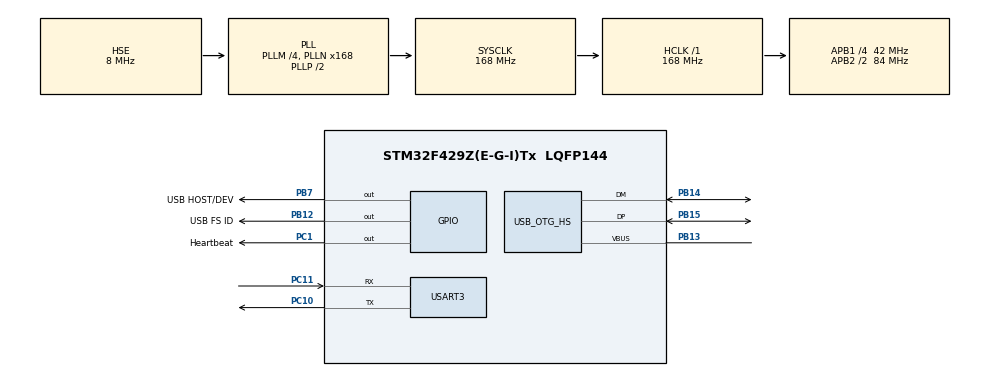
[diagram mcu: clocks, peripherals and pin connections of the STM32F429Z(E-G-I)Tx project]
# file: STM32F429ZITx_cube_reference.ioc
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Mcu.Family=STM32F4
Mcu.Name=STM32F429Z(E-G-I)Tx
Mcu.Package=LQFP144
NVIC.OTG_HS_EP1_IN_IRQn=true\:0\:0\:false\:false\:true
NVIC.OTG_HS_EP1_OUT_IRQn=true\:0\:0\:false\:false\:true
NVIC.OTG_HS_IRQn=true\:0\:0\:false\:false\:true
NVIC.PriorityGroup=NVIC_PRIORITYGROUP_4
PA13.Mode=Serial_Wire
PA13.Signal=SYS_JTMS-SWDIO
PA14.Mode=Serial_Wire
PA14.Signal=SYS_JTCK-SWCLK
PB12.GPIO_Label=USB FS ID
PB12.GPIO_ModeDefaultOutputPP=GPIO_MODE_OUTPUT_PP
PB12.GPIO_PuPd=GPIO_PULLDOWN
PB12.GPIO_Speed=GPIO_SPEED_FREQ_LOW
PB12.PinState=GPIO_PIN_RESET
PB12.Signal=GPIO_Output
PB13.Mode=Activate_VBUS_FS
PB13.Signal=USB_OTG_HS_VBUS
PB14.Mode=Host_FS
PB14.Signal=USB_OTG_HS_DM
PB15.Mode=Host_FS
PB15.Signal=USB_OTG_HS_DP
PB7.GPIO_Label=USB HOST/DEV
PB7.GPIO_ModeDefaultOutputPP=GPIO_MODE_OUTPUT_PP
PB7.GPIO_PuPd=GPIO_PULLDOWN
PB7.GPIO_Speed=GPIO_SPEED_FREQ_LOW
PB7.PinState=GPIO_PIN_SET
PB7.Signal=GPIO_Output
PC1.GPIO_Label=Heartbeat
PC1.Signal=GPIO_Output
PC10.Mode=Asynchronous
PC10.Signal=USART3_TX
PC11.Mode=Asynchronous
PC11.Signal=USART3_RX
PC14/OSC32_IN.Mode=LSE-External-Oscillator
PC14/OSC32_IN.Signal=RCC_OSC32_IN
PC15/OSC32_OUT.Mode=LSE-External-Oscillator
PC15/OSC32_OUT.Signal=RCC_OSC32_OUT
PH0/OSC_IN.Mode=HSE-External-Oscillator
PH0/OSC_IN.Signal=RCC_OSC_IN
PH1/OSC_OUT.Mode=HSE-External-Oscillator
PH1/OSC_OUT.Signal=RCC_OSC_OUT
ProjectManager.HeapSize=0x200
ProjectManager.StackSize=0x400
ProjectManager.TargetToolchain=TrueSTUDIO
RCC.48MHZClocksFreq_Value=48000000
RCC.AHBFreq_Value=168000000
RCC.APB1CLKDivider=RCC_HCLK_DIV4
RCC.APB1Freq_Value=42000000
RCC.APB1TimFreq_Value=84000000
RCC.APB2CLKDivider=RCC_HCLK_DIV2
RCC.APB2Freq_Value=84000000
RCC.APB2TimFreq_Value=168000000
RCC.CortexFreq_Value=168000000
RCC.HCLKFreq_Value=168000000
RCC.HSE_VALUE=8000000
RCC.HSI_VALUE=16000000
RCC.PLLM=4
RCC.PLLN=168
RCC.PLLQ=7
RCC.SYSCLKFreq_VALUE=168000000
RCC.SYSCLKSource=RCC_SYSCLKSOURCE_PLLCLK
RCC.VCOOutputFreq_Value=336000000
USB_HOST.USBH_DEBUG_LEVEL-HID_HS=3
USB_HOST.USBH_HandleTypeDef-HID_HS=hUsbHostHS
USB_HOST.USBH_MAX_NUM_ENDPOINTS-HID_HS=4
USB_HOST.VirtualModeHS=Hid
USB_OTG_HS.VirtualMode-Host_FS=Host_FS
VP_USB_HOST_VS_USB_HOST_HID_HS.Mode=HID_HS
board=STM32F429ZITx_cube_reference

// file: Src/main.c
/**
  ******************************************************************************
  * File Name          : main.c
  * Description        : Main program body
  ******************************************************************************
  *
  * COPYRIGHT(c) 2016 STMicroelectronics
  *
  * Redistribution and use in source and binary forms, with or without modification,
  * are permitted provided that the following conditions are met:
  *   1. Redistributions of source code must retain the above copyright notice,
  *      this list of conditions and the following disclaimer.
  *   2. Redistributions in binary form must reproduce the above copyright notice,
  *      this list of conditions and the following disclaimer in the documentation
  *      and/or other materials provided with the distribution.
  *   3. Neither the name of STMicroelectronics nor the names of its contributors
  *      may be used to endorse or promote products derived from this software
  *      without specific prior written permission.
  *
  * THIS SOFTWARE IS PROVIDED BY THE COPYRIGHT HOLDERS AND CONTRIBUTORS "AS IS"
  * AND ANY EXPRESS OR IMPLIED WARRANTIES, INCLUDING, BUT NOT LIMITED TO, THE
  * IMPLIED WARRANTIES OF MERCHANTABILITY AND FITNESS FOR A PARTICULAR PURPOSE ARE
  * DISCLAIMED. IN NO EVENT SHALL THE COPYRIGHT HOLDER OR CONTRIBUTORS BE LIABLE
  * FOR ANY DIRECT, INDIRECT, INCIDENTAL, SPECIAL, EXEMPLARY, OR CONSEQUENTIAL
  * DAMAGES (INCLUDING, BUT NOT LIMITED TO, PROCUREMENT OF SUBSTITUTE GOODS OR
  * SERVICES; LOSS OF USE, DATA, OR PROFITS; OR BUSINESS INTERRUPTION) HOWEVER
  * CAUSED AND ON ANY THEORY OF LIABILITY, WHETHER IN CONTRACT, STRICT LIABILITY,
  * OR TORT (INCLUDING NEGLIGENCE OR OTHERWISE) ARISING IN ANY WAY OUT OF THE USE
  * OF THIS SOFTWARE, EVEN IF ADVISED OF THE POSSIBILITY OF SUCH DAMAGE.
  *
  ******************************************************************************
  */
#include "stm32f4xx_hal.h"
#include "usb_host.h"

/* USER CODE BEGIN Includes */
#include <stdio.h>
#include <stdlib.h>

/* USER CODE END Includes */

UART_HandleTypeDef huart3;

/* USER CODE BEGIN PV */
/* Private variables ---------------------------------------------------------*/

/* USER CODE END PV */

void SystemClock_Config(void);
void Error_Handler(void);
static void MX_GPIO_Init(void);
static void MX_USART3_UART_Init(void);
void MX_USB_HOST_Process(void);

/* USER CODE BEGIN PFP */
/* Private function prototypes -----------------------------------------------*/

/* USER CODE END PFP */

/* USER CODE BEGIN 0 */
int __io_putchar(int ch)
{
  while (!(USART3->SR & USART_SR_TXE)) {}
  USART3->DR = (uint32_t)ch;
  return ch;
}
/* USER CODE END 0 */

int main(void)
{

  /* USER CODE BEGIN 1 */
  __IO uint32_t i = 0;
  /* USER CODE END 1 */

  /* MCU Configuration----------------------------------------------------------*/

  /* Reset of all peripherals, Initializes the Flash interface and the Systick. */
  HAL_Init();

  /* Configure the system clock */
  SystemClock_Config();

  /* Initialize all configured peripherals */
  MX_GPIO_Init();
  MX_USART3_UART_Init();
  MX_USB_HOST_Init();

  /* USER CODE BEGIN 2 */
  printf("CubeMX Host USB for HID\n");
  printf("Test assert(0) failure: ");
  assert_param(0);

  GPIOB->BSRR = GPIO_PIN_7;;        // USB HOST/DEV - 3.3V
  GPIOB->BSRR = GPIO_PIN_12 << 16u; // USB FS ID, 1 - 0V
  /* USER CODE END 2 */

  /* Infinite loop */
  while (1)
  {
    MX_USB_HOST_Process();

  /* USER CODE BEGIN 3 */
    if (i++ == 0x100000)
    {
      GPIOC->ODR ^= GPIO_PIN_1;
      i = 0;
    }
  }
  /* USER CODE END 3 */

}

/** System Clock Configuration
*/
void SystemClock_Config(void)
{

  RCC_OscInitTypeDef RCC_OscInitStruct;
  RCC_ClkInitTypeDef RCC_ClkInitStruct;

  __HAL_RCC_PWR_CLK_ENABLE();

  __HAL_PWR_VOLTAGESCALING_CONFIG(PWR_REGULATOR_VOLTAGE_SCALE1);

  RCC_OscInitStruct.OscillatorType = RCC_OSCILLATORTYPE_HSE;
  RCC_OscInitStruct.HSEState = RCC_HSE_ON;
  RCC_OscInitStruct.PLL.PLLState = RCC_PLL_ON;
  RCC_OscInitStruct.PLL.PLLSource = RCC_PLLSOURCE_HSE;
  RCC_OscInitStruct.PLL.PLLM = 4;
  RCC_OscInitStruct.PLL.PLLN = 168;
  RCC_OscInitStruct.PLL.PLLP = RCC_PLLP_DIV2;
  RCC_OscInitStruct.PLL.PLLQ = 7;
  if (HAL_RCC_OscConfig(&RCC_OscInitStruct) != HAL_OK)
  {
    Error_Handler();
  }

  RCC_ClkInitStruct.ClockType = RCC_CLOCKTYPE_HCLK|RCC_CLOCKTYPE_SYSCLK
                              |RCC_CLOCKTYPE_PCLK1|RCC_CLOCKTYPE_PCLK2;
  RCC_ClkInitStruct.SYSCLKSource = RCC_SYSCLKSOURCE_PLLCLK;
  RCC_ClkInitStruct.AHBCLKDivider = RCC_SYSCLK_DIV1;
  RCC_ClkInitStruct.APB1CLKDivider = RCC_HCLK_DIV4;
  RCC_ClkInitStruct.APB2CLKDivider = RCC_HCLK_DIV2;
  if (HAL_RCC_ClockConfig(&RCC_ClkInitStruct, FLASH_LATENCY_5) != HAL_OK)
  {
    Error_Handler();
  }

  HAL_SYSTICK_Config(HAL_RCC_GetHCLKFreq()/1000);

  HAL_SYSTICK_CLKSourceConfig(SYSTICK_CLKSOURCE_HCLK);

  /* SysTick_IRQn interrupt configuration */
  HAL_NVIC_SetPriority(SysTick_IRQn, 0, 0);
}

/* USART3 init function */
static void MX_USART3_UART_Init(void)
{

  huart3.Instance = USART3;
  huart3.Init.BaudRate = 115200;
  huart3.Init.WordLength = UART_WORDLENGTH_8B;
  huart3.Init.StopBits = UART_STOPBITS_1;
  huart3.Init.Parity = UART_PARITY_NONE;
  huart3.Init.Mode = UART_MODE_TX_RX;
  huart3.Init.HwFlowCtl = UART_HWCONTROL_NONE;
  huart3.Init.OverSampling = UART_OVERSAMPLING_16;
  if (HAL_UART_Init(&huart3) != HAL_OK)
  {
    Error_Handler();
  }

}

/** Configure pins as
        * Analog
        * Input
        * Output
        * EVENT_OUT
        * EXTI
*/
static void MX_GPIO_Init(void)
{

  GPIO_InitTypeDef GPIO_InitStruct;

  /* GPIO Ports Clock Enable */
  __HAL_RCC_GPIOC_CLK_ENABLE();
  __HAL_RCC_GPIOH_CLK_ENABLE();
  __HAL_RCC_GPIOB_CLK_ENABLE();
  __HAL_RCC_GPIOA_CLK_ENABLE();

  /*Configure GPIO pin Output Level */
  HAL_GPIO_WritePin(Heartbeat_GPIO_Port, Heartbeat_Pin, GPIO_PIN_RESET);

  /*Configure GPIO pin Output Level */
  HAL_GPIO_WritePin(USB_FS_ID_GPIO_Port, USB_FS_ID_Pin, GPIO_PIN_RESET);

  /*Configure GPIO pin Output Level */
  HAL_GPIO_WritePin(USB_HOST_DEV_GPIO_Port, USB_HOST_DEV_Pin, GPIO_PIN_SET);

  /*Configure GPIO pin : Heartbeat_Pin */
  GPIO_InitStruct.Pin = Heartbeat_Pin;
  GPIO_InitStruct.Mode = GPIO_MODE_OUTPUT_PP;
  GPIO_InitStruct.Pull = GPIO_NOPULL;
  GPIO_InitStruct.Speed = GPIO_SPEED_FREQ_LOW;
  HAL_GPIO_Init(Heartbeat_GPIO_Port, &GPIO_InitStruct);

  /*Configure GPIO pins : USB_FS_ID_Pin USB_HOST_DEV_Pin */
  GPIO_InitStruct.Pin = USB_FS_ID_Pin|USB_HOST_DEV_Pin;
  GPIO_InitStruct.Mode = GPIO_MODE_OUTPUT_PP;
  GPIO_InitStruct.Pull = GPIO_PULLDOWN;
  GPIO_InitStruct.Speed = GPIO_SPEED_FREQ_LOW;
  HAL_GPIO_Init(GPIOB, &GPIO_InitStruct);

}

void Error_Handler(void)
{
  while(1)
  {
  }
}

#ifdef USE_FULL_ASSERT

/**
   * @brief Reports the name of the source file and the source line number
   * where the assert_param error has occurred.
   * @param file: pointer to the source file name
   * @param line: assert_param error line source number
   * @retval None
   */
void assert_failed(uint8_t* file, uint32_t line)
{
  /* USER CODE BEGIN 6 */
  /* User can add his own implementation to report the file name and line number,
    ex: printf("Wrong parameters value: file %s on line %d\r\n", file, line) */
  printf("Wrong parameters value: file %s on line %u\n",
    file, (unsigned int)line);
  /* USER CODE END 6 */

}

#endif

/************************ (C) COPYRIGHT STMicroelectronics *****END OF FILE****/
